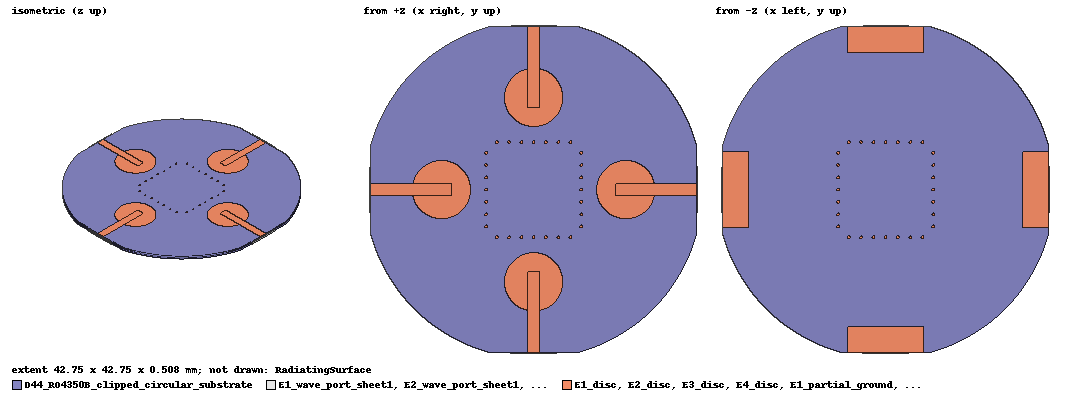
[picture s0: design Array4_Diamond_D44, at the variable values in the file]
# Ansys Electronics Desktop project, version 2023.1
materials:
  vacuum: permittivity=1
  RO4350B_custom_D44: permittivity=3.48 permeability=1 dielectric_loss_tangent=0.0037
  copper: permeability=0.999991 conductivity=58000000
  pec: conductivity=1e+30
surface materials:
  Steel-oxidised-surface

design Array4_Diamond_D44 (HFSS, HFSS Modal Network, model units mm)
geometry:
  D44_RO4350B_clipped_circular_substrate [RO4350B_custom_D44] = polyline(z=0mm, xy in mm: (21.2, -5.8787754) (21.2, 5.8787754) (20.829171, 7.0813578) (20.390186, 8.2607689) (19.884482, 9.4131496) (19.313712, 10.534729) (18.679746, 11.621838) (17.984656, 12.670918) (17.230718, 13.678536) (16.420399, 14.641397) (15.556349, 15.556349) (14.641397, 16.420399) (13.678536, 17.230718) (12.670918, 17.984656) (11.621838, 18.679746) (10.534729, 19.313712) (9.4131496, 19.884482) (8.2607689, 20.390186) (7.0813578, 20.829171) (5.8787754, 21.2) (-5.8787754, 21.2) (-7.0813578, 20.829171) (-8.2607689, 20.390186) (-9.4131496, 19.884482) (-10.534729, 19.313712) (-11.621838, 18.679746) (-12.670918, 17.984656) (-13.678536, 17.230718) (-14.641397, 16.420399) (-15.556349, 15.556349) (-16.420399, 14.641397) (-17.230718, 13.678536) (-17.984656, 12.670918) (-18.679746, 11.621838) (-19.313712, 10.534729) (-19.884482, 9.4131496) (-20.390186, 8.2607689) (-20.829171, 7.0813578) (-21.2, 5.8787754) (-21.2, -5.8787754) (-20.829171, -7.0813578) (-20.390186, -8.2607689) (-19.884482, -9.4131496) (-19.313712, -10.534729) (-18.679746, -11.621838) (-17.984656, -12.670918) (-17.230718, -13.678536) (-16.420399, -14.641397) (-15.556349, -15.556349) (-14.641397, -16.420399) (-13.678536, -17.230718) (-12.670918, -17.984656) (-11.621838, -18.679746) (-10.534729, -19.313712) (-9.4131496, -19.884482) (-8.2607689, -20.390186) (-7.0813578, -20.829171) (-5.8787754, -21.2) (5.8787754, -21.2) (7.0813578, -20.829171) (8.2607689, -20.390186) (9.4131496, -19.884482) (10.534729, -19.313712) (11.621838, -18.679746) (12.670918, -17.984656) (13.678536, -17.230718) (14.641397, -16.420399) (15.556349, -15.556349) (16.420399, -14.641397) (17.230718, -13.678536) (17.984656, -12.670918) (18.679746, -11.621838) (19.313712, -10.534729) (19.884482, -9.4131496) (20.390186, -8.2607689) (20.829171, -7.0813578) (21.2, -5.8787754), closed, covered)
  D44_RO4350B_clipped_circular_substrate.thicken(0.508mm)
  E1_disc [copper] = circle(normal=Z, centre=(12.020815mm, 0mm, 0.508mm), radius=3.8mm, segments=72)
  E1_feed_line [copper] = polyline(z=0.508mm, xy in mm: (10.690815, -0.75) (21.2, -0.75) (21.2, 0.75) (10.690815, 0.75) (10.690815, -0.75), closed, covered)
  E1_partial_ground [copper] = polyline(z=0mm, xy in mm: (17.820815, -5) (21.2, -5) (21.2, 5) (17.820815, 5) (17.820815, -5), closed, covered)
  E1_wave_port_sheet = polyline(x=21.2mm, yz in mm: (-3, 0) (3, 0) (3, 0.508) (-3, 0.508) (-3, 0), closed, covered)
  E1_wave_port_sheet1 [pec] = polyline(x=21.2mm, yz in mm: (-3, 0) (3, 0) (3, 0.508) (-3, 0.508) (-3, 0), closed, covered)
  E1_wave_port_sheet1.thicken(0.17458522mm)
  E2_disc [copper] = circle(normal=Z, centre=(7.3606265e-16mm, 12.020815mm, 0.508mm), radius=3.8mm, segments=72)
  E2_feed_line [copper] = polyline(z=0.508mm, xy in mm: (0.75, 10.690815) (0.75, 21.2) (-0.75, 21.2) (-0.75, 10.690815) (0.75, 10.690815), closed, covered)
  E2_partial_ground [copper] = polyline(z=0mm, xy in mm: (5, 17.820815) (5, 21.2) (-5, 21.2) (-5, 17.820815) (5, 17.820815), closed, covered)
  E2_wave_port_sheet = polyline(y=21.2mm, xz in mm: (3, 0) (-3, 0) (-3, 0.508) (3, 0.508) (3, 0), closed, covered)
  E2_wave_port_sheet1 [pec] = polyline(y=21.2mm, xz in mm: (3, 0) (-3, 0) (-3, 0.508) (3, 0.508) (3, 0), closed, covered)
  E2_wave_port_sheet1.thicken(0.17458522mm)
  E3_disc [copper] = circle(normal=Z, centre=(-12.020815mm, 1.4721253e-15mm, 0.508mm), radius=3.8mm, segments=72)
  E3_feed_line [copper] = polyline(z=0.508mm, xy in mm: (-10.690815, 0.75) (-21.2, 0.75) (-21.2, -0.75) (-10.690815, -0.75) (-10.690815, 0.75), closed, covered)
  E3_partial_ground [copper] = polyline(z=0mm, xy in mm: (-17.820815, 5) (-21.2, 5) (-21.2, -5) (-17.820815, -5) (-17.820815, 5), closed, covered)
  E3_wave_port_sheet = polyline(x=-21.2mm, yz in mm: (3, 0) (-3, 0) (-3, 0.508) (3, 0.508) (3, 0), closed, covered)
  E3_wave_port_sheet1 [pec] = polyline(x=-21.2mm, yz in mm: (3, 0) (-3, 0) (-3, 0.508) (3, 0.508) (3, 0), closed, covered)
  E3_wave_port_sheet1.thicken(0.17458522mm)
  E4_disc [copper] = circle(normal=Z, centre=(-2.2081879e-15mm, -12.020815mm, 0.508mm), radius=3.8mm, segments=72)
  E4_feed_line [copper] = polyline(z=0.508mm, xy in mm: (-0.75, -10.690815) (-0.75, -21.2) (0.75, -21.2) (0.75, -10.690815) (-0.75, -10.690815), closed, covered)
  E4_partial_ground [copper] = polyline(z=0mm, xy in mm: (-5, -17.820815) (-5, -21.2) (5, -21.2) (5, -17.820815) (-5, -17.820815), closed, covered)
  E4_wave_port_sheet = polyline(y=-21.2mm, xz in mm: (-3, 0) (3, 0) (3, 0.508) (-3, 0.508) (-3, 0), closed, covered)
  E4_wave_port_sheet1 [pec] = polyline(y=-21.2mm, xz in mm: (-3, 0) (3, 0) (3, 0.508) (-3, 0.508) (-3, 0), closed, covered)
  E4_wave_port_sheet1.thicken(0.17458522mm)
  iso_via_01 [copper] = cylinder(axis=Z, base_centre=(-4.8mm, 6.2mm, 0mm), radius=0.18mm, height=0.508mm, segments=16)
  iso_via_02 [copper] = cylinder(axis=Z, base_centre=(-4.8mm, -6.2mm, 0mm), radius=0.18mm, height=0.508mm, segments=16)
  iso_via_03 [copper] = cylinder(axis=Z, base_centre=(-3.2mm, 6.2mm, 0mm), radius=0.18mm, height=0.508mm, segments=16)
  iso_via_04 [copper] = cylinder(axis=Z, base_centre=(-3.2mm, -6.2mm, 0mm), radius=0.18mm, height=0.508mm, segments=16)
  iso_via_05 [copper] = cylinder(axis=Z, base_centre=(-1.6mm, 6.2mm, 0mm), radius=0.18mm, height=0.508mm, segments=16)
  iso_via_06 [copper] = cylinder(axis=Z, base_centre=(-1.6mm, -6.2mm, 0mm), radius=0.18mm, height=0.508mm, segments=16)
  iso_via_07 [copper] = cylinder(axis=Z, base_centre=(0mm, 6.2mm, 0mm), radius=0.18mm, height=0.508mm, segments=16)
  iso_via_08 [copper] = cylinder(axis=Z, base_centre=(0mm, -6.2mm, 0mm), radius=0.18mm, height=0.508mm, segments=16)
  iso_via_09 [copper] = cylinder(axis=Z, base_centre=(1.6mm, 6.2mm, 0mm), radius=0.18mm, height=0.508mm, segments=16)
  iso_via_10 [copper] = cylinder(axis=Z, base_centre=(1.6mm, -6.2mm, 0mm), radius=0.18mm, height=0.508mm, segments=16)
  iso_via_11 [copper] = cylinder(axis=Z, base_centre=(3.2mm, 6.2mm, 0mm), radius=0.18mm, height=0.508mm, segments=16)
  iso_via_12 [copper] = cylinder(axis=Z, base_centre=(3.2mm, -6.2mm, 0mm), radius=0.18mm, height=0.508mm, segments=16)
  iso_via_13 [copper] = cylinder(axis=Z, base_centre=(4.8mm, 6.2mm, 0mm), radius=0.18mm, height=0.508mm, segments=16)
  iso_via_14 [copper] = cylinder(axis=Z, base_centre=(4.8mm, -6.2mm, 0mm), radius=0.18mm, height=0.508mm, segments=16)
  iso_via_15 [copper] = cylinder(axis=Z, base_centre=(6.2mm, -4.8mm, 0mm), radius=0.18mm, height=0.508mm, segments=16)
  iso_via_16 [copper] = cylinder(axis=Z, base_centre=(-6.2mm, -4.8mm, 0mm), radius=0.18mm, height=0.508mm, segments=16)
  iso_via_17 [copper] = cylinder(axis=Z, base_centre=(6.2mm, -3.2mm, 0mm), radius=0.18mm, height=0.508mm, segments=16)
  iso_via_18 [copper] = cylinder(axis=Z, base_centre=(-6.2mm, -3.2mm, 0mm), radius=0.18mm, height=0.508mm, segments=16)
  iso_via_19 [copper] = cylinder(axis=Z, base_centre=(6.2mm, -1.6mm, 0mm), radius=0.18mm, height=0.508mm, segments=16)
  iso_via_20 [copper] = cylinder(axis=Z, base_centre=(-6.2mm, -1.6mm, 0mm), radius=0.18mm, height=0.508mm, segments=16)
  iso_via_21 [copper] = cylinder(axis=Z, base_centre=(6.2mm, 0mm, 0mm), radius=0.18mm, height=0.508mm, segments=16)
  iso_via_22 [copper] = cylinder(axis=Z, base_centre=(-6.2mm, 0mm, 0mm), radius=0.18mm, height=0.508mm, segments=16)
  iso_via_23 [copper] = cylinder(axis=Z, base_centre=(6.2mm, 1.6mm, 0mm), radius=0.18mm, height=0.508mm, segments=16)
  iso_via_24 [copper] = cylinder(axis=Z, base_centre=(-6.2mm, 1.6mm, 0mm), radius=0.18mm, height=0.508mm, segments=16)
  iso_via_25 [copper] = cylinder(axis=Z, base_centre=(6.2mm, 3.2mm, 0mm), radius=0.18mm, height=0.508mm, segments=16)
  iso_via_26 [copper] = cylinder(axis=Z, base_centre=(-6.2mm, 3.2mm, 0mm), radius=0.18mm, height=0.508mm, segments=16)
  iso_via_27 [copper] = cylinder(axis=Z, base_centre=(6.2mm, 4.8mm, 0mm), radius=0.18mm, height=0.508mm, segments=16)
  iso_via_28 [copper] = cylinder(axis=Z, base_centre=(-6.2mm, 4.8mm, 0mm), radius=0.18mm, height=0.508mm, segments=16)
  RadiatingSurface [vacuum] = region(absolute_offset=14.285714mm on all sides)
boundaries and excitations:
  D44_PEC_metallization: Perfect E Objects=[E1_disc, E1_feed_line, E1_partial_ground, E2_disc, E2_feed_line, E2_partial_ground, E3_disc, E3_feed_line, E3_partial_ground, E4_disc, E4_feed_line, E4_partial_ground, iso_via_01, iso_via_02, iso_via_03, iso_via_04, iso_via_05, iso_via_06, iso_via_07, iso_via_08, iso_via_09, iso_via_10..iso_via_28]
  Open1: Radiation Objects=RadiatingSurface
  P1: Wave Port Objects=E1_wave_port_sheet WavePortType=Modal NumModes=1 Modes{Mode1{IntLine{(21.2, 0, 0.508) -> (21.2, 0, 0)} CharImp=Zpi RenormImp=50ohm}}
  P2: Wave Port Objects=E2_wave_port_sheet WavePortType=Modal NumModes=1 Modes{Mode1{IntLine{(0, 21.2, 0.508) -> (0, 21.2, 0)} CharImp=Zpi RenormImp=50ohm}}
  P3: Wave Port Objects=E3_wave_port_sheet WavePortType=Modal NumModes=1 Modes{Mode1{IntLine{(-21.2, 0, 0.508) -> (-21.2, 0, 0)} CharImp=Zpi RenormImp=50ohm}}
  P4: Wave Port Objects=E4_wave_port_sheet WavePortType=Modal NumModes=1 Modes{Mode1{IntLine{(0, -21.2, 0.508) -> (0, -21.2, 0)} CharImp=Zpi RenormImp=50ohm}}
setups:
  Setup_CH9: HfssDriven Frequency=8GHz MaxDeltaS=0.03 MaximumPasses=5 MinimumPasses=1 MinimumConvergedPasses=1 PercentRefinement=30 BasisOrder=1 PortAccuracy=2 DrivenSolverType="Direct Solver"
    sweep Sweep_CH9: 7.5GHz to 8.5GHz step 0.1GHz; Type=Discrete
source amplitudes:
  P1:1: 1W 0deg
  P2:1, P3:1, P4:1: 0W 0deg
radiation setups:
  3D: Infinite Sphere Theta=0deg..180deg step 2deg Phi=-180deg..180deg step 2deg
  Elevation: Infinite Sphere Theta=-180deg..180deg step 1deg Phi=0deg..90deg step 90deg
  Azimuth: Infinite Sphere Theta=90deg..90deg step 0deg Phi=-180deg..180deg step 1deg
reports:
  D44_S_Parameters_and_Isolation: dB(S(P3:1,P3:1)), dB(S(P4:1,P4:1)), dB(S(P1:1,P1:1)), dB(S(P2:1,P2:1)), dB(S(P3:1,P4:1)), dB(S(P3:1,P1:1)), dB(S(P3:1,P2:1)), dB(S(P4:1,P3:1)), dB(S(P4:1,P1:1)), dB(S(P4:1,P2:1)), dB(S(P1:1,P3:1)), dB(S(P1:1,P4:1)), dB(S(P1:1,P2:1)), dB(S(P2:1,P3:1)), dB(S(P2:1,P4:1)), dB(S(P2:1,P1:1)) vs Freq on Setup_CH9 : Sweep_CH9
